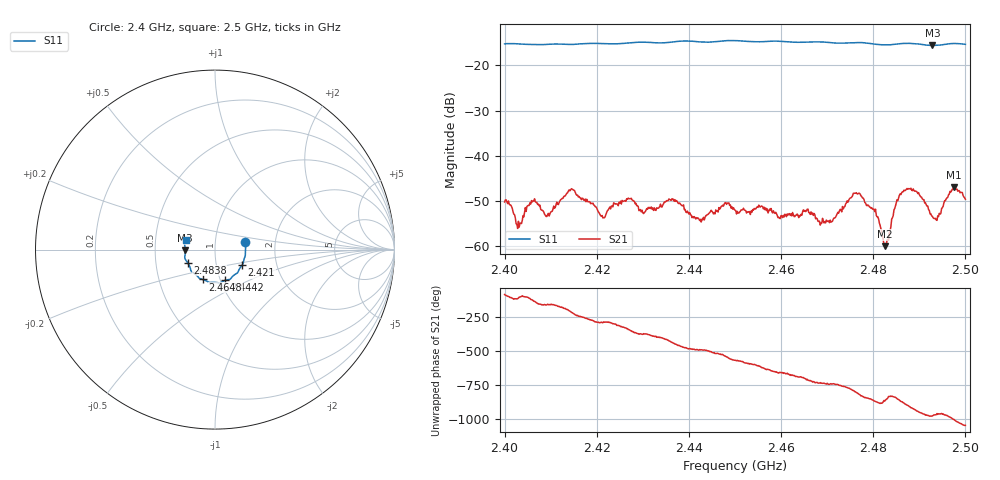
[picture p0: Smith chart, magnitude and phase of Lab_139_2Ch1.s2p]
# Hz S RI R 50
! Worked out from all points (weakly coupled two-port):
!   601 points, 2.4 GHz to 2.5 GHz, reference 50 ohm
!   highest |S21| = -46.97 dB at 2.4975 GHz (marker M1); lowest = -59.9 dB at 2.4825 GHz (marker M2)
!   lowest |S11| = -15.6 dB at 2.4928 GHz (marker M3), VSWR 1.40, Z = 35.8 - j0.347 ohm
!   |S11| at or under -10 dB: start of sweep to end of sweep
!   S12 and S22 are empty: the file has one direction only
!   S11 on the Smith chart (normalised r, x): 2.4 GHz: 1.40, +0.12; 2.421 GHz: 1.33, -0.24; 2.4442 GHz: 1.05, -0.37; 2.4648 GHz: 0.83, -0.28; 2.4838 GHz: 0.73, -0.11; 2.5 GHz: 0.72, +0.08
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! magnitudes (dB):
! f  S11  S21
! 2.4 GHz  -15.3  -50.2
! 2.4032 GHz  -15.2  -55.7
! 2.406 GHz  -15.4  -50.2
! 2.4093 GHz  -15.4  -53.0
! 2.4143 GHz  -15.4  -47.5
! 2.4167 GHz  -15.2  -49.7
! 2.421 GHz  -15.2  -53.4
! 2.427 GHz  -15.0  -49.5
! 2.4333 GHz  -15.0  -51.5
! 2.4442 GHz  -14.9  -52.9
! 2.45 GHz  -14.5  -52.0
! 2.4648 GHz  -14.9  -51.9
! 2.4667 GHz  -14.8  -52.9
! 2.4708 GHz  -15.0  -54.6
! 2.4767 GHz  -15.0  -48.4
! 2.4825 GHz  -15.5  -59.9
! 2.4833 GHz  -15.5  -58.6
! 2.4838 GHz  -15.4  -55.6
! 2.4877 GHz  -15.1  -47.2
! 2.4928 GHz  -15.6  -53.3
! 2.4975 GHz  -15.2  -47.0
! 2.5 GHz  -15.4  -49.6
